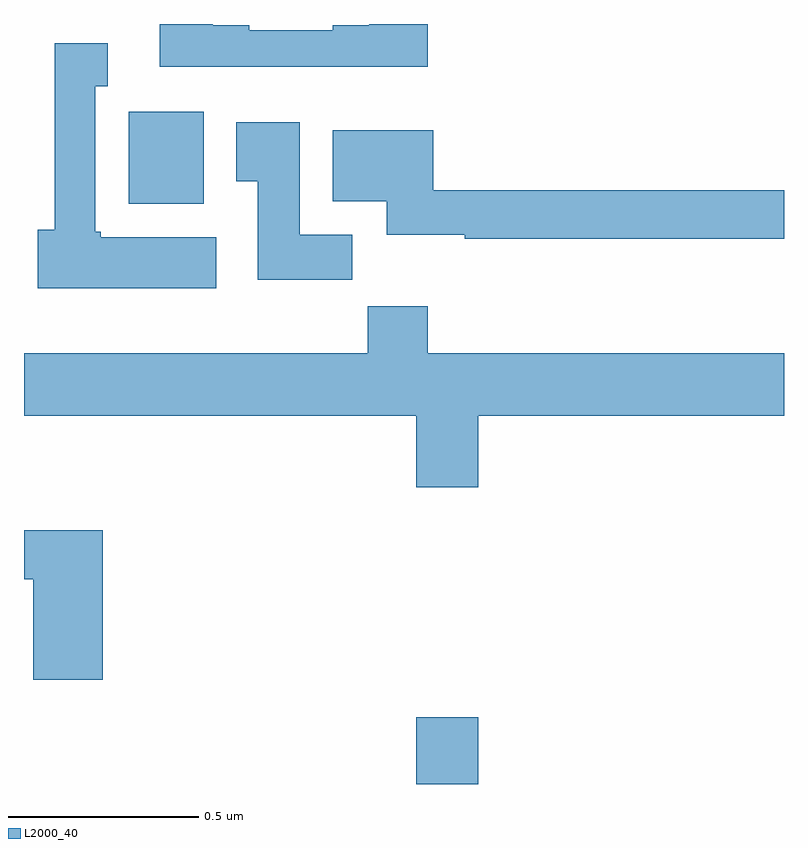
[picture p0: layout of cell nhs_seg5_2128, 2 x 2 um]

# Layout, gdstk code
import gdstk
lib = gdstk.Library(unit=1e-6, precision=1e-09)
def R(c, l, rs):  # rectangles x0, y0, x1, y1
    for r in rs: c.add(gdstk.rectangle(r[:2], r[2:], *l))
def P(c, l, *ps):  # polygons
    for p in ps: c.add(gdstk.Polygon(p, *l))
L2000_40 = (2000, 40)

nhs_seg5_2128 = lib.new_cell('nhs_seg5_2128')
R(nhs_seg5_2128, L2000_40, [(141.032,847.799,141.196,847.975), (140.276,849.326,140.473,849.568)])
P(nhs_seg5_2128, L2000_40, [(141.062,849.799),(140.909,849.799),(140.909,849.796),(140.813,849.796),(140.813,849.783),(140.593,849.783),(140.593,849.796),(140.497,849.796),(140.497,849.799),(140.357,849.799),(140.357,849.686),(141.062,849.686)],
  [(140.506,849.238),(140.202,849.238),(140.202,849.252),(140.188,849.252),(140.188,849.635),(140.221,849.635),(140.221,849.748),(140.081,849.748),(140.081,849.258),(140.036,849.258),(140.036,849.104),(140.506,849.104)],
  [(140.864,849.244),(140.725,849.244),(140.725,849.541),(140.558,849.541),(140.558,849.385),(140.615,849.385),(140.615,849.126),(140.864,849.126)],
  [(142,849.362),(141.077,849.362),(141.077,849.52),(140.813,849.52),(140.813,849.332),(140.954,849.332),(140.954,849.245),(141.16,849.245),(141.16,849.234),(142,849.234)],
  [(141.196,848.768),(142,848.768),(142,848.932),(141.062,848.932),(141.062,849.056),(140.905,849.056),(140.905,848.932),(140,848.932),(140,848.768),(141.032,848.768),(141.032,848.58),(141.196,848.58)],
  [(140.207,848.467),(140,848.467),(140,848.338),(140.024,848.338),(140.024,848.073),(140.207,848.073)])

lib.write_gds('nhs_seg5_2128.gds')
